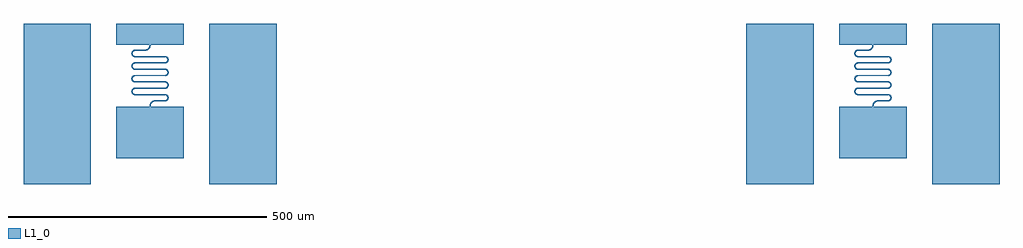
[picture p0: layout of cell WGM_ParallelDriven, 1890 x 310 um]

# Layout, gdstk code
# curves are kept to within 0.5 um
import gdstk
lib = gdstk.Library(unit=1e-6, precision=1e-09)
def R(c, l, rs):  # rectangles x0, y0, x1, y1
    for r in rs: c.add(gdstk.rectangle(r[:2], r[2:], *l))
def P(c, l, *ps):  # polygons
    for p in ps: c.add(gdstk.Polygon(p, *l))
L1_0 = (1, 0)

ebond_0 = lib.new_cell('EBOND_0')

ebond_1 = lib.new_cell('EBOND_1')

ebond_2 = lib.new_cell('EBOND_2')

ebond_3 = lib.new_cell('EBOND_3')

wgm_paralleldriven = lib.new_cell('WGM_ParallelDriven')
R(wgm_paralleldriven, L1_0, [(-790,107,-660,417), (-430,107,-300,417), (610,107,740,417), (970,107,1100,417)])
P(wgm_paralleldriven, L1_0, [(-610,157),(-610,257),(-546,257),(-544.526,263.5),(-539.649,267.969),(-535.959,268.958),(-515.282,269.078),(-512.246,270.831),(-511.047,274.125),(-512.548,277.749),(-515.725,279.23),(-574.45,279.277),(-577.391,280.204),(-579.665,282.288),(-580.927,285.754),(-580.524,288.812),(-578.409,291.833),(-575.673,293.257),(-515.725,293.519),(-512.548,295.001),(-511.047,298.625),(-512.548,302.249),(-515.725,303.73),(-573.829,303.75),(-577.391,304.704),(-579.999,307.312),(-580.927,311.496),(-579.287,315.455),(-575.673,317.757),(-515.725,318.019),(-512.548,319.501),(-511.047,323.125),(-512.548,326.749),(-515.725,328.23),(-575.673,328.493),(-578.867,330.337),(-580.711,333.531),(-580.711,337.219),(-578.867,340.413),(-576.266,342.07),(-573.829,342.5),(-515.725,342.519),(-511.973,344.685),(-511.221,348.951),(-512.877,351.551),(-515.725,352.73),(-573.829,352.75),(-577.915,354.038),(-579.999,356.312),(-580.954,359.875),(-580.286,362.886),(-577.915,365.711),(-574.45,366.973),(-551.922,367.543),(-549.215,369.105),(-547.206,371.5),(-546,377),(-610,377),(-610,417),(-480,417),(-480,377),(-544,377),(-545.474,370.5),(-550.351,366.03),(-554.041,365.042),(-574.719,364.922),(-577.755,363.169),(-578.954,359.875),(-577.755,356.581),(-574.719,354.828),(-515.551,354.723),(-512.085,353.461),(-509.714,350.636),(-509.074,347.004),(-510.001,344.062),(-512.085,341.788),(-514.934,340.608),(-574.275,340.48),(-577.453,338.999),(-578.954,335.375),(-577.453,331.751),(-574.275,330.269),(-516.172,330.25),(-512.609,329.295),(-509.714,326.136),(-509.155,321.888),(-510.714,318.545),(-514.328,316.243),(-574.275,315.98),(-577.453,314.499),(-578.954,310.875),(-577.453,307.251),(-574.275,305.769),(-514.328,305.507),(-511.134,303.663),(-509.289,300.469),(-509.289,296.781),(-511.134,293.587),(-513.16,292.167),(-516.172,291.5),(-574.275,291.48),(-577.755,289.669),(-578.876,285.485),(-577.453,282.751),(-574.275,281.269),(-516.172,281.25),(-511.592,279.583),(-509.476,276.562),(-509.074,273.504),(-510.001,270.562),(-512.085,268.288),(-515.551,267.027),(-538.078,266.457),(-540.785,264.894),(-542.794,262.5),(-544,257),(-480,257),(-480,157)],
  [(790,157),(790,257),(854,257),(855.474,263.5),(860.351,267.969),(864.041,268.958),(884.718,269.078),(887.754,270.831),(888.953,274.125),(887.452,277.749),(884.275,279.23),(825.55,279.277),(822.609,280.204),(820.335,282.288),(819.155,285.138),(819.476,288.812),(821.133,291.413),(824.327,293.257),(884.275,293.519),(887.452,295.001),(888.953,298.625),(887.452,302.249),(884.275,303.73),(826.171,303.75),(822.609,304.704),(819.714,307.864),(819.155,312.112),(820.713,315.455),(824.327,317.757),(884.275,318.019),(887.452,319.501),(888.953,323.125),(887.452,326.749),(884.275,328.23),(824.327,328.493),(821.133,330.337),(819.289,333.531),(819.289,337.219),(821.133,340.413),(823.16,341.832),(826.171,342.5),(884.275,342.519),(888.027,344.685),(888.779,348.951),(887.123,351.551),(884.275,352.73),(826.171,352.75),(822.085,354.038),(820.001,356.312),(819.046,359.875),(819.714,362.886),(822.085,365.711),(825.55,366.973),(848.078,367.543),(850.785,369.105),(852.794,371.5),(854,377),(790,377),(790,417),(920,417),(920,377),(856,377),(854.526,370.5),(849.649,366.03),(845.959,365.042),(825.282,364.922),(822.245,363.169),(821.046,359.875),(822.245,356.581),(825.282,354.828),(884.449,354.723),(887.915,353.461),(890.286,350.636),(890.926,347.004),(889.999,344.062),(887.915,341.788),(885.066,340.608),(825.725,340.48),(822.245,338.669),(821.046,335.375),(822.245,332.081),(825.725,330.269),(883.828,330.25),(887.391,329.295),(890.286,326.136),(890.845,321.888),(889.287,318.545),(885.673,316.243),(825.725,315.98),(822.245,314.169),(821.046,310.875),(822.245,307.581),(825.725,305.769),(885.673,305.507),(888.867,303.663),(890.711,300.469),(890.711,296.781),(888.867,293.587),(886.84,292.167),(883.828,291.5),(825.725,291.48),(822.245,289.669),(821.124,285.485),(822.877,282.449),(825.725,281.269),(883.828,281.25),(888.408,279.583),(890.524,276.562),(890.926,273.504),(889.999,270.562),(887.915,268.288),(884.449,267.027),(861.922,266.457),(859.215,264.894),(857.206,262.5),(856,257),(920,257),(920,157)])
wgm_paralleldriven.add(gdstk.Reference(ebond_0, (1650,380)))
wgm_paralleldriven.add(gdstk.Reference(ebond_1, (250,380)))
wgm_paralleldriven.add(gdstk.Reference(ebond_2, (-76,178)))
wgm_paralleldriven.add(gdstk.Reference(ebond_2, (1928,300)))
wgm_paralleldriven.add(gdstk.Reference(ebond_3, (-26,28)))
wgm_paralleldriven.add(gdstk.Reference(ebond_3, (1978,150)))

lib.write_gds('WGM_ParallelDriven.gds')
